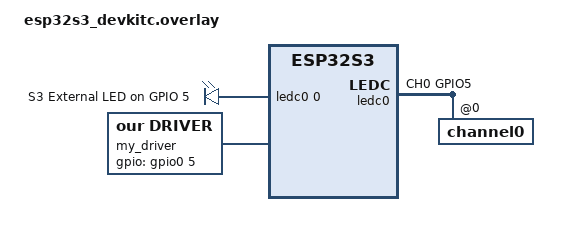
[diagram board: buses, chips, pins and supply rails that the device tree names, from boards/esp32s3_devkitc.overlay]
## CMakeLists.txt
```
cmake_minimum_required(VERSION 3.20.0)

list(APPEND BOARD_ROOT ${CMAKE_CURRENT_SOURCE_DIR}/..)

set(DTC_OVERLAY_FILE boards/esp32s3_devkitc.overlay)
set(BOARD our_board/esp32s3/procpu)

find_package(Zephyr REQUIRED)
project(my_zephyr_app)

target_sources(app PRIVATE src/main.c)

add_subdirectory(drivers/our_driver)
```

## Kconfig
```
menuconfig MY_LED_SUBSYSTEM
    bool "LED Subsystem"
    help
        Enable support for the custom LED Subsystem.


if MY_LED_SUBSYSTEM 

choice BLINK_TIME_SELECT
    prompt "Blink Time"
    default BLINK_TIME_500MS
    help
        Select the blink time for the LED.
config BLINK_TIME_250MS
    bool "250 ms"
config BLINK_TIME_500MS
    bool "500 ms"
config BLINK_TIME_1S
    bool "1 second"
config BLINK_TIME_2S
    bool "2 seconds"
endchoice

config BLINK_TIME_MS
    int "Blink Time (ms)"
    default 250 if BLINK_TIME_250MS
    default 500 if BLINK_TIME_500MS
    default 1000 if BLINK_TIME_1S
    default 2000 if BLINK_TIME_2S

menuconfig LED_ADVANCED_SETTINGS
    bool "Advanced LED Settings"
    help
        Enable advanced settings for the LED subsystem.

menu "Expert settings"
    visible if LED_ADVANCED_SETTINGS

    config LED_BRIGHTNESS
        int "LED Brightness"
        range 0 100
        default 50
        help
            Set the brightness level of the LED (0-100%).
    config LED_FADE_MS
        int "LED Fade Time (ms)"
        range 0 5000
        default 1000
        help
            Set the fade time for the LED in milliseconds.
            
endmenu
endif

source "Kconfig.zephyr"
rsource "drivers/our_driver/Kconfig"
```

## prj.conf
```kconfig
CONFIG_GPIO=y
CONFIG_LOG=y
CONFIG_PWM=y


# My custom LED subsystem
CONFIG_MY_LED_SUBSYSTEM=y
CONFIG_BLINK_TIME_500MS=y
CONFIG_LED_ADVANCED_SETTINGS=y
CONFIG_LED_BRIGHTNESS=85
CONFIG_LED_FADE_MS=1000

CONFIG_OUR_DRIVER=y

CONFIG_SHELL=y
CONFIG_SENSOR_SHELL=n
```

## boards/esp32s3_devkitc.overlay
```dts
#include <zephyr/dt-bindings/pwm/pwm.h>
#include <zephyr/dt-bindings/pinctrl/esp32s3-pinctrl.h>

/ {
    aliases {
        pwm-led0 = &pwm_led_0;
        custom-driver = &my_driver;
    };
    
    pwmleds {
        compatible = "pwm-leds";
        pwm_led_0: pwm_led_0 {
            pwms = <&ledc0 0 5000 PWM_POLARITY_NORMAL>;
            label = "S3 External LED on GPIO 5";
        };
    };
    
    my_driver: my_driver {
        compatible = "our,driver";
        status = "okay";
        /* Map GPIO 5 so the custom sensor driver can manipulate it */
        gpios = <&gpio0 5 GPIO_ACTIVE_HIGH>;
    };
};

&pinctrl {
    ledc0_default: ledc0_default {
        group1 {
            pinmux = <LEDC_CH0_GPIO5>;
            output-enable;
        };
    };
};

&ledc0 {
    pinctrl-0 = <&ledc0_default>;
    pinctrl-names = "default";
    status = "okay";
    #address-cells = <1>;
    #size-cells = <0>;
    
    channel0@0 {
        reg = <0>;
        timer = <0>;
    };
};
```

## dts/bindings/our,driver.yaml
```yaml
description: Homework gpio driver
compatible: "our,driver"
include: base.yaml

properties:
  gpios:
    type: phandle-array
    required: true
    description: "GPIOs used by the driver"
```

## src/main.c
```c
#include <zephyr/kernel.h>
#include <zephyr/device.h>
#include <zephyr/logging/log.h>
#include <zephyr/drivers/sensor.h>
#include <zephyr/shell/shell.h>
#include <stdlib.h>
#include "our_driver.h"

LOG_MODULE_REGISTER(main, LOG_LEVEL_INF);

const struct device *my_driver_dev = DEVICE_DT_GET(DT_ALIAS(custom_driver));

static int cmd_sensor_fetch(const struct shell *sh, size_t argc, char **argv) {
    if (!device_is_ready(my_driver_dev)) {
        shell_error(sh, "Sensor device not ready");
        return -ENODEV;
    }

    int err = sensor_sample_fetch(my_driver_dev);
    if (err) {
        shell_error(sh, "Failed to fetch: %d", err);
    } else {
        shell_print(sh, "Fetch successful (LED ON)");
    }
    return err;
}

static int cmd_sensor_read(const struct shell *sh, size_t argc, char **argv) {
    if (!device_is_ready(my_driver_dev)) {
        shell_error(sh, "Sensor device not ready");
        return -ENODEV;
    }

    struct sensor_value val;
    int err = sensor_channel_get(my_driver_dev, SENSOR_CHAN_ALL, &val);
    if (err) {
        shell_error(sh, "Failed to read: %d", err);
    } else {
        shell_print(sh, "Read successful: val1=%d, val2=%d (LED OFF)", val.val1, val.val2);
    }
    return err;
}

static int cmd_sensor_info(const struct shell *sh, size_t argc, char **argv) {
    bool ready = device_is_ready(my_driver_dev);
    shell_print(sh, "Device Name: %s", my_driver_dev->name);
    shell_print(sh, "Ready State: %s", ready ? "true" : "false");
    return 0;
}

static int cmd_sensor_set(const struct shell *sh, size_t argc, char **argv) {
    if (!device_is_ready(my_driver_dev)) {
        shell_error(sh, "Sensor device not ready");
        return -ENODEV;
    }

    char *endptr;
    long delay_val = strtol(argv[1], &endptr, 10);

    if (*endptr != '\0' || delay_val < 0 || delay_val > 10000) {
        shell_error(sh, "Error: Argument must be a valid integer between 0 and 10000");
        return -EINVAL;
    }

    int err = our_driver_set_delay(my_driver_dev, (int)delay_val);
    if (err) {
        shell_error(sh, "Failed to set delay parameter: %d", err);
    } else {
        shell_print(sh, "Success: Custom delay parameter set to %d ms", (int)delay_val);
    }

    return err;
}

SHELL_STATIC_SUBCMD_SET_CREATE(sensor_subcmds,
    SHELL_CMD(fetch, NULL, "Call sensor_sample_fetch()", cmd_sensor_fetch),
    SHELL_CMD(info, NULL, "Print device name and ready state", cmd_sensor_info),
    SHELL_CMD(read, NULL, "Call sensor_channel_get() and print result", cmd_sensor_read),
    SHELL_CMD_ARG(set, NULL, "Set custom delay parameter <value>", cmd_sensor_set, 2, 0),
    SHELL_SUBCMD_SET_END
);

SHELL_CMD_REGISTER(sensor, &sensor_subcmds, "Custom Sensor Driver Commands", NULL);


int main(void) {
    if (!device_is_ready(my_driver_dev)) {
        LOG_ERR("Custom device not found or not ready");
        return 0;
    }

    LOG_INF("System booted. Use the shell terminal to interact with the sensor driver.");
  
    while (1) {
        k_msleep(10000);
    }

    return 0;
}
```

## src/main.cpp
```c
#include "zephyr/device.h"
#include <zephyr/drivers/pwm.h>
#include <zephyr/drivers/sensor.h>
#include <zephyr/kernel.h>
#include <zephyr/logging/log.h>

LOG_MODULE_REGISTER(main, LOG_LEVEL_INF);

const struct device *my_driver_dev = DEVICE_DT_GET(DT_ALIAS(custom_driver));

int main(void) {
  if (!IS_ENABLED(CONFIG_MY_LED_SUBSYSTEM)) {
    return 0;
  }

  if (!device_is_ready(my_driver_dev)) {
    LOG_ERR("Custom device not found or not ready");
	return -ENODEV;
  } else {
    LOG_INF("Custom device found. Executing driver test...");
  }

  while (1) {
    struct sensor_value val;

    sensor_sample_fetch(my_driver_dev);
    LOG_INF("Called sample_fetch -> LED should be ON");
    k_msleep(2000);

    int ret = sensor_channel_get(my_driver_dev, SENSOR_CHAN_ALL, &val);
    LOG_INF("Called channel_get (returned %d) -> LED should be OFF", ret);
    k_msleep(2000);
  }
  return 0;
}
```
